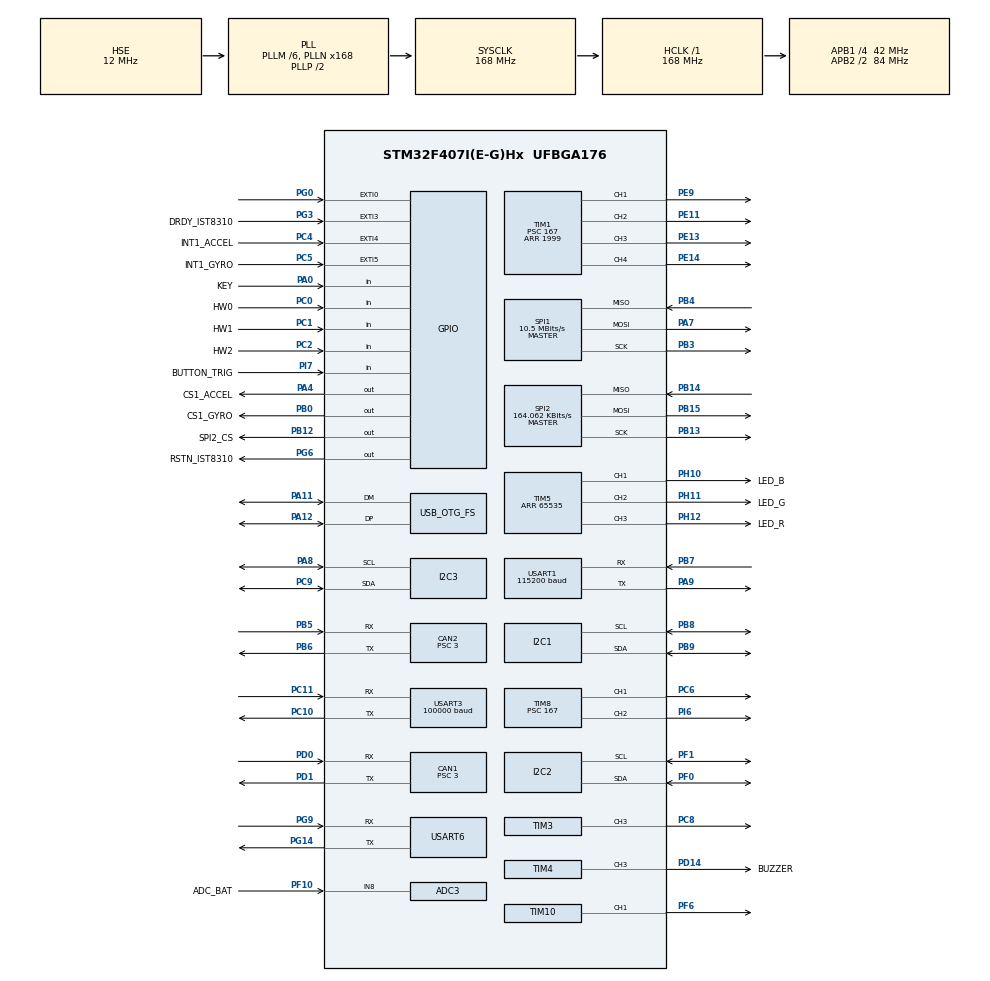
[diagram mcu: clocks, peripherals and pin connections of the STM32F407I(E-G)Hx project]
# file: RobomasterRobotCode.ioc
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ADC1.Channel-0\#ChannelRegularConversion=ADC_CHANNEL_TEMPSENSOR
ADC1.ClockPrescaler=ADC_CLOCK_SYNC_PCLK_DIV6
ADC1.NbrOfConversionFlag=1
ADC1.Rank-0\#ChannelRegularConversion=1
ADC1.SamplingTime-0\#ChannelRegularConversion=ADC_SAMPLETIME_3CYCLES
ADC1.master=1
ADC3.Channel-0\#ChannelRegularConversion=ADC_CHANNEL_8
ADC3.ClockPrescaler=ADC_CLOCK_SYNC_PCLK_DIV6
ADC3.NbrOfConversionFlag=1
ADC3.Rank-0\#ChannelRegularConversion=1
ADC3.SamplingTime-0\#ChannelRegularConversion=ADC_SAMPLETIME_3CYCLES
CAN1.BS1=CAN_BS1_10TQ
CAN1.BS2=CAN_BS2_3TQ
CAN1.CalculateBaudRate=1000000
CAN1.CalculateTimeBit=1000
CAN1.CalculateTimeQuantum=71.42857142857143
CAN1.Prescaler=3
CAN1.SJW=CAN_SJW_4TQ
CAN2.BS1=CAN_BS1_10TQ
CAN2.BS2=CAN_BS2_3TQ
CAN2.CalculateBaudRate=1000000
CAN2.CalculateTimeBit=1000
CAN2.CalculateTimeQuantum=71.42857142857143
CAN2.Prescaler=3
Dma.I2C2_TX.0.Direction=DMA_MEMORY_TO_PERIPH
Dma.I2C2_TX.0.FIFOMode=DMA_FIFOMODE_DISABLE
Dma.I2C2_TX.0.Instance=DMA1_Stream7
Dma.I2C2_TX.0.MemDataAlignment=DMA_MDATAALIGN_BYTE
Dma.I2C2_TX.0.MemInc=DMA_MINC_ENABLE
Dma.I2C2_TX.0.Mode=DMA_NORMAL
Dma.I2C2_TX.0.PeriphDataAlignment=DMA_PDATAALIGN_BYTE
Dma.I2C2_TX.0.PeriphInc=DMA_PINC_DISABLE
Dma.I2C2_TX.0.Priority=DMA_PRIORITY_HIGH
Dma.I2C3_RX.8.Direction=DMA_PERIPH_TO_MEMORY
Dma.I2C3_RX.8.FIFOMode=DMA_FIFOMODE_DISABLE
Dma.I2C3_RX.8.Instance=DMA1_Stream2
Dma.I2C3_RX.8.MemDataAlignment=DMA_MDATAALIGN_BYTE
Dma.I2C3_RX.8.MemInc=DMA_MINC_ENABLE
Dma.I2C3_RX.8.Mode=DMA_NORMAL
Dma.I2C3_RX.8.PeriphDataAlignment=DMA_PDATAALIGN_BYTE
Dma.I2C3_RX.8.PeriphInc=DMA_PINC_DISABLE
Dma.I2C3_RX.8.Priority=DMA_PRIORITY_VERY_HIGH
Dma.Request0=I2C2_TX
Dma.Request1=USART1_TX
Dma.Request2=USART3_RX
Dma.Request3=USART6_RX
Dma.Request4=USART6_TX
Dma.Request5=SPI1_RX
Dma.Request6=SPI1_TX
Dma.Request7=USART1_RX
Dma.Request8=I2C3_RX
Dma.SPI1_RX.5.Direction=DMA_PERIPH_TO_MEMORY
Dma.SPI1_RX.5.FIFOMode=DMA_FIFOMODE_DISABLE
Dma.SPI1_RX.5.Instance=DMA2_Stream2
Dma.SPI1_RX.5.MemDataAlignment=DMA_MDATAALIGN_BYTE
Dma.SPI1_RX.5.MemInc=DMA_MINC_ENABLE
Dma.SPI1_RX.5.Mode=DMA_NORMAL
Dma.SPI1_RX.5.PeriphDataAlignment=DMA_PDATAALIGN_BYTE
Dma.SPI1_RX.5.PeriphInc=DMA_PINC_DISABLE
Dma.SPI1_RX.5.Priority=DMA_PRIORITY_VERY_HIGH
Dma.SPI1_TX.6.Direction=DMA_MEMORY_TO_PERIPH
Dma.SPI1_TX.6.FIFOMode=DMA_FIFOMODE_DISABLE
Dma.SPI1_TX.6.Instance=DMA2_Stream3
Dma.SPI1_TX.6.MemDataAlignment=DMA_MDATAALIGN_BYTE
Dma.SPI1_TX.6.MemInc=DMA_MINC_ENABLE
Dma.SPI1_TX.6.Mode=DMA_NORMAL
Dma.SPI1_TX.6.PeriphDataAlignment=DMA_PDATAALIGN_BYTE
Dma.SPI1_TX.6.PeriphInc=DMA_PINC_DISABLE
Dma.SPI1_TX.6.Priority=DMA_PRIORITY_HIGH
Dma.USART1_RX.7.Direction=DMA_PERIPH_TO_MEMORY
Dma.USART1_RX.7.FIFOMode=DMA_FIFOMODE_DISABLE
Dma.USART1_RX.7.Instance=DMA2_Stream5
Dma.USART1_RX.7.MemDataAlignment=DMA_MDATAALIGN_BYTE
Dma.USART1_RX.7.MemInc=DMA_MINC_ENABLE
Dma.USART1_RX.7.Mode=DMA_NORMAL
Dma.USART1_RX.7.PeriphDataAlignment=DMA_PDATAALIGN_BYTE
Dma.USART1_RX.7.PeriphInc=DMA_PINC_DISABLE
Dma.USART1_RX.7.Priority=DMA_PRIORITY_VERY_HIGH
Dma.USART1_TX.1.Direction=DMA_MEMORY_TO_PERIPH
Dma.USART1_TX.1.FIFOMode=DMA_FIFOMODE_DISABLE
Dma.USART1_TX.1.Instance=DMA2_Stream7
Dma.USART1_TX.1.MemDataAlignment=DMA_MDATAALIGN_BYTE
Dma.USART1_TX.1.MemInc=DMA_MINC_ENABLE
Dma.USART1_TX.1.Mode=DMA_NORMAL
Dma.USART1_TX.1.PeriphDataAlignment=DMA_PDATAALIGN_BYTE
Dma.USART1_TX.1.PeriphInc=DMA_PINC_DISABLE
Dma.USART1_TX.1.Priority=DMA_PRIORITY_HIGH
Dma.USART3_RX.2.Direction=DMA_PERIPH_TO_MEMORY
Dma.USART3_RX.2.FIFOMode=DMA_FIFOMODE_DISABLE
Dma.USART3_RX.2.Instance=DMA1_Stream1
Dma.USART3_RX.2.MemDataAlignment=DMA_MDATAALIGN_BYTE
Dma.USART3_RX.2.MemInc=DMA_MINC_ENABLE
Dma.USART3_RX.2.Mode=DMA_NORMAL
Dma.USART3_RX.2.PeriphDataAlignment=DMA_PDATAALIGN_BYTE
Dma.USART3_RX.2.PeriphInc=DMA_PINC_DISABLE
Dma.USART3_RX.2.Priority=DMA_PRIORITY_HIGH
Dma.USART6_RX.3.Direction=DMA_PERIPH_TO_MEMORY
Dma.USART6_RX.3.FIFOMode=DMA_FIFOMODE_DISABLE
Dma.USART6_RX.3.Instance=DMA2_Stream1
Dma.USART6_RX.3.MemDataAlignment=DMA_MDATAALIGN_BYTE
Dma.USART6_RX.3.MemInc=DMA_MINC_ENABLE
Dma.USART6_RX.3.Mode=DMA_NORMAL
Dma.USART6_RX.3.PeriphDataAlignment=DMA_PDATAALIGN_BYTE
Dma.USART6_RX.3.PeriphInc=DMA_PINC_DISABLE
Dma.USART6_RX.3.Priority=DMA_PRIORITY_HIGH
Dma.USART6_TX.4.Direction=DMA_MEMORY_TO_PERIPH
Dma.USART6_TX.4.FIFOMode=DMA_FIFOMODE_DISABLE
Dma.USART6_TX.4.Instance=DMA2_Stream6
Dma.USART6_TX.4.MemDataAlignment=DMA_MDATAALIGN_BYTE
Dma.USART6_TX.4.MemInc=DMA_MINC_ENABLE
Dma.USART6_TX.4.Mode=DMA_NORMAL
Dma.USART6_TX.4.PeriphDataAlignment=DMA_PDATAALIGN_BYTE
Dma.USART6_TX.4.PeriphInc=DMA_PINC_DISABLE
Dma.USART6_TX.4.Priority=DMA_PRIORITY_VERY_HIGH
FREERTOS.INCLUDE_eTaskGetState=1
FREERTOS.INCLUDE_pcTaskGetTaskName=1
FREERTOS.INCLUDE_uxTaskGetStackHighWaterMark=1
FREERTOS.INCLUDE_uxTaskGetStackHighWaterMark2=0
FREERTOS.INCLUDE_vTaskCleanUpResources=1
FREERTOS.INCLUDE_vTaskDelayUntil=1
FREERTOS.INCLUDE_xEventGroupSetBitFromISR=1
FREERTOS.INCLUDE_xQueueGetMutexHolder=1
FREERTOS.INCLUDE_xSemaphoreGetMutexHolder=1
FREERTOS.INCLUDE_xTaskAbortDelay=1
FREERTOS.INCLUDE_xTaskGetCurrentTaskHandle=1
FREERTOS.INCLUDE_xTaskGetHandle=1
FREERTOS.INCLUDE_xTimerPendFunctionCall=1
FREERTOS.Tasks01=test,0,64,test_task,As weak,NULL,Dynamic,NULL,NULL
FREERTOS.configENABLE_FPU=1
FREERTOS.configMINIMAL_STACK_SIZE=64
FREERTOS.configTOTAL_HEAP_SIZE=51200
FREERTOS.configUSE_NEWLIB_REENTRANT=1
FREERTOS.configUSE_TIMERS=1
I2C1.I2C_Mode=I2C_Fast
I2C2.I2C_Mode=I2C_Fast
I2C3.I2C_Mode=I2C_Fast
Mcu.Family=STM32F4
Mcu.Name=STM32F407I(E-G)Hx
Mcu.Package=UFBGA176
NVIC.CAN1_RX0_IRQn=true\:6\:0\:true\:false\:true\:true\:true\:true\:true
NVIC.CAN2_RX0_IRQn=true\:6\:0\:true\:false\:true\:true\:true\:true\:true
NVIC.DMA1_Stream1_IRQn=true\:5\:0\:true\:false\:false\:true\:false\:true\:true
NVIC.DMA1_Stream2_IRQn=true\:6\:0\:true\:false\:true\:true\:false\:true\:true
NVIC.DMA1_Stream7_IRQn=true\:6\:0\:true\:false\:false\:true\:false\:true\:true
NVIC.DMA2_Stream1_IRQn=true\:5\:0\:true\:false\:true\:true\:false\:true\:true
NVIC.DMA2_Stream2_IRQn=true\:6\:0\:true\:false\:false\:false\:false\:true\:true
NVIC.DMA2_Stream3_IRQn=true\:6\:0\:true\:false\:false\:true\:false\:true\:true
NVIC.DMA2_Stream5_IRQn=true\:5\:0\:true\:false\:true\:true\:false\:true\:true
NVIC.DMA2_Stream6_IRQn=true\:5\:0\:true\:false\:false\:true\:false\:true\:true
NVIC.DMA2_Stream7_IRQn=true\:5\:0\:true\:false\:false\:true\:false\:true\:true
NVIC.EXTI0_IRQn=true\:5\:0\:true\:false\:true\:true\:true\:true\:true
NVIC.EXTI3_IRQn=true\:5\:0\:true\:false\:true\:true\:true\:true\:true
NVIC.EXTI4_IRQn=true\:5\:0\:true\:false\:true\:true\:true\:true\:true
NVIC.EXTI9_5_IRQn=true\:5\:0\:true\:false\:true\:true\:true\:true\:true
NVIC.OTG_FS_IRQn=true\:6\:0\:true\:false\:true\:true\:true\:true\:true
NVIC.PVD_IRQn=true\:0\:0\:true\:false\:true\:false\:true\:true\:true
NVIC.PriorityGroup=NVIC_PRIORITYGROUP_4
NVIC.TIM6_DAC_IRQn=true\:15\:0\:false\:false\:true\:false\:false\:true\:true
NVIC.TIM7_IRQn=true\:6\:0\:true\:false\:true\:true\:true\:true\:true
NVIC.TimeBase=TIM6_DAC_IRQn
NVIC.TimeBaseIP=TIM6
NVIC.USART1_IRQn=true\:5\:0\:true\:false\:false\:true\:true\:true\:true
NVIC.USART3_IRQn=true\:5\:0\:true\:false\:false\:false\:true\:true\:true
NVIC.USART6_IRQn=true\:6\:0\:true\:false\:false\:true\:true\:true\:true
PA0-WKUP.GPIO_Label=KEY
PA0-WKUP.GPIO_PuPd=GPIO_PULLUP
PA0-WKUP.Signal=GPIO_Input
PA11.Mode=Device_Only
PA11.Signal=USB_OTG_FS_DM
PA12.Mode=Device_Only
PA12.Signal=USB_OTG_FS_DP
PA13.Mode=Serial_Wire
PA13.Signal=SYS_JTMS-SWDIO
PA14.Mode=Serial_Wire
PA14.Signal=SYS_JTCK-SWCLK
PA4.GPIO_Label=CS1_ACCEL
PA4.GPIO_PuPd=GPIO_PULLUP
PA4.GPIO_Speed=GPIO_SPEED_FREQ_HIGH
PA4.PinState=GPIO_PIN_SET
PA4.Signal=GPIO_Output
PA7.GPIO_PuPd=GPIO_PULLUP
PA7.Mode=Full_Duplex_Master
PA7.Signal=SPI1_MOSI
PA8.GPIO_Pu=GPIO_PULLUP
PA8.Mode=I2C
PA8.Signal=I2C3_SCL
PA9.Mode=Asynchronous
PA9.Signal=USART1_TX
PB0.GPIO_Label=CS1_GYRO
PB0.GPIO_PuPd=GPIO_PULLUP
PB0.GPIO_Speed=GPIO_SPEED_FREQ_HIGH
PB0.PinState=GPIO_PIN_SET
PB0.Signal=GPIO_Output
PB12.GPIO_Label=SPI2_CS
PB12.GPIO_PuPd=GPIO_PULLUP
PB12.GPIO_Speed=GPIO_SPEED_FREQ_MEDIUM
PB12.PinState=GPIO_PIN_SET
PB12.Signal=GPIO_Output
PB13.GPIO_PuPd=GPIO_PULLUP
PB13.Mode=Full_Duplex_Master
PB13.Signal=SPI2_SCK
PB14.GPIO_PuPd=GPIO_PULLUP
PB14.Mode=Full_Duplex_Master
PB14.Signal=SPI2_MISO
PB15.GPIO_PuPd=GPIO_PULLUP
PB15.Mode=Full_Duplex_Master
PB15.Signal=SPI2_MOSI
PB3.GPIO_PuPd=GPIO_PULLUP
PB3.Mode=Full_Duplex_Master
PB3.Signal=SPI1_SCK
PB4.GPIO_PuPd=GPIO_PULLUP
PB4.Mode=Full_Duplex_Master
PB4.Signal=SPI1_MISO
PB5.Mode=CAN_Activate
PB5.Signal=CAN2_RX
PB6.Mode=CAN_Activate
PB6.Signal=CAN2_TX
PB7.Mode=Asynchronous
PB7.Signal=USART1_RX
PB8.GPIO_Pu=GPIO_PULLUP
PB8.Mode=I2C
PB8.Signal=I2C1_SCL
PB9.GPIO_Pu=GPIO_PULLUP
PB9.Mode=I2C
PB9.Signal=I2C1_SDA
PC0.GPIO_Label=HW0
PC0.Signal=GPIO_Input
PC1.GPIO_Label=HW1
PC1.Signal=GPIO_Input
PC10.Mode=Asynchronous
PC10.Signal=USART3_TX
PC11.Mode=Asynchronous
PC11.Signal=USART3_RX
PC2.GPIO_Label=HW2
PC2.Signal=GPIO_Input
PC4.GPIO_Label=INT1_ACCEL
PC4.GPIO_ModeDefaultEXTI=GPIO_MODE_IT_FALLING
PC4.GPIO_PuPd=GPIO_PULLUP
PC4.Signal=GPXTI4
PC5.GPIO_Label=INT1_GYRO
PC5.GPIO_ModeDefaultEXTI=GPIO_MODE_IT_FALLING
PC5.GPIO_PuPd=GPIO_PULLUP
PC5.Signal=GPXTI5
PC6.GPIO_PuPd=GPIO_PULLUP
PC6.GPIO_Speed=GPIO_SPEED_FREQ_HIGH
PC6.Signal=S_TIM8_CH1
PC8.GPIO_PuPd=GPIO_PULLUP
PC8.GPIO_Speed=GPIO_SPEED_FREQ_HIGH
PC8.Signal=S_TIM3_CH3
PC9.GPIO_Pu=GPIO_PULLUP
PC9.Mode=I2C
PC9.Signal=I2C3_SDA
PD0.Mode=CAN_Activate
PD0.Signal=CAN1_RX
PD1.Mode=CAN_Activate
PD1.Signal=CAN1_TX
PD14.GPIO_Label=BUZZER
PD14.GPIO_PuPd=GPIO_PULLUP
PD14.GPIO_Speed=GPIO_SPEED_FREQ_VERY_HIGH
PD14.Signal=S_TIM4_CH3
PE11.GPIO_PuPd=GPIO_PULLUP
PE11.GPIO_Speed=GPIO_SPEED_FREQ_HIGH
PE11.Signal=S_TIM1_CH2
PE13.GPIO_PuPd=GPIO_PULLUP
PE13.GPIO_Speed=GPIO_SPEED_FREQ_HIGH
PE13.Signal=S_TIM1_CH3
PE14.GPIO_PuPd=GPIO_PULLUP
PE14.GPIO_Speed=GPIO_SPEED_FREQ_HIGH
PE14.Signal=S_TIM1_CH4
PE9.GPIO_PuPd=GPIO_PULLUP
PE9.GPIO_Speed=GPIO_SPEED_FREQ_HIGH
PE9.Signal=S_TIM1_CH1
PF0.GPIO_Pu=GPIO_PULLUP
PF0.Mode=I2C
PF0.Signal=I2C2_SDA
PF1.GPIO_Pu=GPIO_PULLUP
PF1.Mode=I2C
PF1.Signal=I2C2_SCL
PF10.GPIO_Label=ADC_BAT
PF10.Mode=IN8
PF10.Signal=ADC3_IN8
PF6.GPIO_PuPd=GPIO_PULLUP
PF6.GPIO_Speed=GPIO_SPEED_FREQ_HIGH
PF6.Signal=S_TIM10_CH1
PG0.GPIO_ModeDefaultEXTI=GPIO_MODE_IT_FALLING
PG0.GPIO_PuPd=GPIO_PULLUP
PG0.Signal=GPXTI0
PG14.Mode=Asynchronous
PG14.Signal=USART6_TX
PG3.GPIO_Label=DRDY_IST8310
PG3.GPIO_ModeDefaultEXTI=GPIO_MODE_IT_FALLING
PG3.GPIO_PuPd=GPIO_PULLUP
PG3.Signal=GPXTI3
PG6.GPIO_Label=RSTN_IST8310
PG6.GPIO_PuPd=GPIO_PULLUP
PG6.GPIO_Speed=GPIO_SPEED_FREQ_MEDIUM
PG6.PinState=GPIO_PIN_SET
PG6.Signal=GPIO_Output
PG9.Mode=Asynchronous
PG9.Signal=USART6_RX
PH0-OSC_IN.Mode=HSE-External-Oscillator
PH0-OSC_IN.Signal=RCC_OSC_IN
PH1-OSC_OUT.Mode=HSE-External-Oscillator
PH1-OSC_OUT.Signal=RCC_OSC_OUT
PH10.GPIO_Label=LED_B
PH10.GPIO_PuPd=GPIO_PULLUP
PH10.GPIO_Speed=GPIO_SPEED_FREQ_HIGH
PH10.Signal=S_TIM5_CH1
PH11.GPIO_Label=LED_G
PH11.GPIO_PuPd=GPIO_PULLUP
PH11.GPIO_Speed=GPIO_SPEED_FREQ_HIGH
PH11.Signal=S_TIM5_CH2
PH12.GPIO_Label=LED_R
PH12.GPIO_PuPd=GPIO_PULLUP
PH12.GPIO_Speed=GPIO_SPEED_FREQ_HIGH
PH12.Signal=S_TIM5_CH3
PI6.GPIO_PuPd=GPIO_PULLUP
PI6.GPIO_Speed=GPIO_SPEED_FREQ_HIGH
PI6.Signal=S_TIM8_CH2
PI7.GPIO_Label=BUTTON_TRIG
PI7.GPIO_PuPd=GPIO_PULLUP
PI7.Signal=GPIO_Input
ProjectManager.HeapSize=0x10000
ProjectManager.StackSize=0x4000
ProjectManager.TargetToolchain=STM32CubeIDE
RCC.48MHZClocksFreq_Value=48000000
RCC.AHBFreq_Value=168000000
RCC.APB1CLKDivider=RCC_HCLK_DIV4
RCC.APB1Freq_Value=42000000
RCC.APB1TimFreq_Value=84000000
RCC.APB2CLKDivider=RCC_HCLK_DIV2
RCC.APB2Freq_Value=84000000
RCC.APB2TimFreq_Value=168000000
RCC.CortexFreq_Value=168000000
RCC.HCLKFreq_Value=168000000
RCC.HSE_VALUE=12000000
RCC.HSI_VALUE=16000000
RCC.LSE_VALUE=32768
RCC.PLLM=6
RCC.PLLN=168
RCC.PLLQ=7
RCC.RCC_RTC_Clock_SourceVirtual=RCC_RTCCLKSOURCE_HSE_DIV30
RCC.RCC_RTC_Clock_Source_FROM_HSE=RCC_RTCCLKSOURCE_HSE_DIV30
RCC.SYSCLKFreq_VALUE=168000000
RCC.SYSCLKSource=RCC_SYSCLKSOURCE_PLLCLK
RCC.VCOOutputFreq_Value=336000000
RTC.AsynchPrediv=124
RTC.SynchPrediv=3199
SH.S_TIM10_CH1.0=TIM10_CH1,PWM Generation1 CH1
SH.S_TIM1_CH1.0=TIM1_CH1,PWM Generation1 CH1
SH.S_TIM1_CH2.0=TIM1_CH2,PWM Generation2 CH2
SH.S_TIM1_CH3.0=TIM1_CH3,PWM Generation3 CH3
SH.S_TIM1_CH4.0=TIM1_CH4,PWM Generation4 CH4
SH.S_TIM3_CH3.0=TIM3_CH3,PWM Generation3 CH3
SH.S_TIM4_CH3.0=TIM4_CH3,PWM Generation3 CH3
SH.S_TIM5_CH1.0=TIM5_CH1,PWM Generation1 CH1
SH.S_TIM5_CH2.0=TIM5_CH2,PWM Generation2 CH2
SH.S_TIM5_CH3.0=TIM5_CH3,PWM Generation3 CH3
SH.S_TIM8_CH1.0=TIM8_CH1,PWM Generation1 CH1
SH.S_TIM8_CH2.0=TIM8_CH2,PWM Generation2 CH2
SPI1.BaudRatePrescaler=SPI_BAUDRATEPRESCALER_8
SPI1.CLKPhase=SPI_PHASE_2EDGE
SPI1.CLKPolarity=SPI_POLARITY_HIGH
SPI1.CalculateBaudRate=10.5 MBits/s
SPI1.Direction=SPI_DIRECTION_2LINES
SPI1.Mode=SPI_MODE_MASTER
SPI1.VirtualType=VM_MASTER
SPI2.BaudRatePrescaler=SPI_BAUDRATEPRESCALER_256
SPI2.CLKPhase=SPI_PHASE_2EDGE
SPI2.CLKPolarity=SPI_POLARITY_HIGH
SPI2.CalculateBaudRate=164.062 KBits/s
SPI2.Direction=SPI_DIRECTION_2LINES
SPI2.Mode=SPI_MODE_MASTER
SPI2.VirtualType=VM_MASTER
TIM1.Channel-PWM\ Generation1\ CH1=TIM_CHANNEL_1
TIM1.Channel-PWM\ Generation2\ CH2=TIM_CHANNEL_2
TIM1.Channel-PWM\ Generation3\ CH3=TIM_CHANNEL_3
TIM1.Channel-PWM\ Generation4\ CH4=TIM_CHANNEL_4
TIM1.Period=1999
TIM1.Prescaler=167
TIM1.Pulse-PWM\ Generation1\ CH1=0
TIM1.Pulse-PWM\ Generation2\ CH2=0
TIM1.Pulse-PWM\ Generation3\ CH3=0
TIM1.Pulse-PWM\ Generation4\ CH4=0
TIM10.Channel=TIM_CHANNEL_1
TIM10.Period=4999
TIM3.Channel-PWM\ Generation3\ CH3=TIM_CHANNEL_3
TIM3.Period=8399
TIM3.Prescaler=0
TIM4.Channel-PWM\ Generation3\ CH3=TIM_CHANNEL_3
TIM4.Period=9999
TIM4.Prescaler=83
TIM5.Channel-PWM\ Generation1\ CH1=TIM_CHANNEL_1
TIM5.Channel-PWM\ Generation2\ CH2=TIM_CHANNEL_2
TIM5.Channel-PWM\ Generation3\ CH3=TIM_CHANNEL_3
TIM5.Period=65535
TIM7.AutoReloadPreload=TIM_AUTORELOAD_PRELOAD_ENABLE
TIM7.Period=174
TIM7.Prescaler=839
TIM7.TIM_MasterOutputTrigger=TIM_TRGO_RESET
TIM8.Channel-PWM\ Generation1\ CH1=TIM_CHANNEL_1
TIM8.Channel-PWM\ Generation2\ CH2=TIM_CHANNEL_2
TIM8.Period=19999
TIM8.Prescaler=167
TIM8.Pulse-PWM\ Generation1\ CH1=0
TIM8.Pulse-PWM\ Generation2\ CH2=0
USART1.BaudRate=115200
USART1.Parity=PARITY_NONE
USART1.StopBits=STOPBITS_1
USART1.VirtualMode=VM_ASYNC
USART1.WordLength=WORDLENGTH_8B
USART3.BaudRate=100000
USART3.Parity=PARITY_EVEN
USART3.VirtualMode=VM_ASYNC
USART6.VirtualMode=VM_ASYNC
USB_DEVICE.CLASS_NAME_FS=CDC
USB_DEVICE.VirtualMode-CDC_FS=Cdc
USB_DEVICE.VirtualModeFS=Cdc_FS
USB_OTG_FS.VirtualMode=Device_Only
VP_ADC1_TempSens_Input.Mode=IN-TempSens
VP_ADC1_Vref_Input.Mode=IN-Vrefint
VP_CRC_VS_CRC.Mode=CRC_Activate
VP_FREERTOS_VS_CMSIS_V1.Mode=CMSIS_V1
VP_RNG_VS_RNG.Mode=RNG_Activate
VP_RTC_VS_RTC_Activate.Mode=RTC_Enabled
VP_SYS_VS_tim6.Mode=TIM6
VP_TIM10_VS_ClockSourceINT.Mode=Enable_Timer
VP_TIM1_VS_ClockSourceINT.Mode=Internal
VP_TIM3_VS_ClockSourceINT.Mode=Internal
VP_TIM4_VS_ClockSourceINT.Mode=Internal
VP_TIM5_VS_ClockSourceINT.Mode=Internal
VP_TIM7_VS_ClockSourceINT.Mode=Enable_Timer
VP_TIM8_VS_ClockSourceINT.Mode=Internal
VP_USB_DEVICE_VS_USB_DEVICE_CDC_FS.Mode=CDC_FS
board=custom

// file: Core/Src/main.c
/* USER CODE BEGIN Header */
/**
  ******************************************************************************
  * @file           : main.c
  * @brief          : Main program body
  ******************************************************************************
  * @attention
  *
  * <h2><center>&copy; Copyright (c) 2022 STMicroelectronics.
  * All rights reserved.</center></h2>
  *
  * This software component is licensed by ST under BSD 3-Clause license,
  * the "License"; You may not use this file except in compliance with the
  * License. You may obtain a copy of the License at:
  *                        opensource.org/licenses/BSD-3-Clause
  *
  ******************************************************************************
  */
/* USER CODE END Header */
#include "main.h"
#include "cmsis_os.h"
#include "adc.h"
#include "can.h"
#include "crc.h"
#include "dma.h"
#include "i2c.h"
#include "rng.h"
#include "rtc.h"
#include "spi.h"
#include "tim.h"
#include "usart.h"
#include "usb_device.h"
#include "gpio.h"

/* USER CODE BEGIN Includes */
#include "bsp_can.h"
#include "bsp_delay.h"
#include "bsp_usart.h"
#include "remote_control.h"
#include "FreeRTOS.h"
#include "calibrate_task.h"
#include "chassis_task.h"
#include "detect_task.h"
#include "gimbal_task.h"
#include "INS_task.h"
#include "led_flow_task.h"
//#include "referee_usart_task.h"
#include "print_task.h"
#include "voltage_task.h"
#include "referee_task.h"
#include "SEGGER_RTT.h"
#include "DWT.h"
#if __CC_ARM
#if EventRecorder_MODE == Enable_EventRecorder
#include "EventRecorder.h"
#endif
#endif
/* USER CODE END Includes */

void SystemClock_Config(void);
void MX_FREERTOS_Init(void);

/* USER CODE BEGIN 0 */
//uint16_t abDataOut[128];
/* USER CODE END 0 */

int main(void)
{
  /* USER CODE BEGIN 1 */
    taskDISABLE_INTERRUPTS();
  /* USER CODE END 1 */

  /* MCU Configuration--------------------------------------------------------*/

  /* Reset of all peripherals, Initializes the Flash interface and the Systick. */
  HAL_Init();

  /* Configure the system clock */
  SystemClock_Config();

  /* USER CODE BEGIN SysInit */
  HAL_RTC_MspInit(&hrtc);

#if __CC_ARM
#if EventRecorder_MODE == Enable_EventRecorder
    /* EventRecorder Initializes */
	EventRecorderInitialize(EventRecordAll, 1U);
#endif
#endif
  /* USER CODE END SysInit */

  /* Initialize all configured peripherals */
  MX_GPIO_Init();
  MX_DMA_Init();
  MX_ADC1_Init();
  MX_ADC3_Init();
  MX_CAN1_Init();
  MX_CAN2_Init();
  MX_I2C1_Init();
  MX_I2C2_Init();
  MX_RTC_Init();
  MX_TIM1_Init();
  MX_TIM3_Init();
  MX_TIM4_Init();
  MX_TIM5_Init();
  MX_TIM8_Init();
  MX_TIM10_Init();
  MX_I2C3_Init();
  MX_SPI1_Init();
  MX_SPI2_Init();
  MX_USART1_UART_Init();
  MX_USART3_UART_Init();
  MX_USART6_UART_Init();
  MX_CRC_Init();
  MX_RNG_Init();
  MX_TIM7_Init();
  /* USER CODE BEGIN 2 */
  can_filter_init();
  delay_init();
  cali_param_init();
  remote_control_init();
  HAL_TIM_Base_Start_IT(&htim7);
  DWT_init();
//  usart1_tx_dma_init();//abundant
//  HAL_TIM_Base_Start_IT(&htim2);
  /* USER CODE END 2 */

  /* Call init function for freertos objects (in freertos.c) */
  MX_FREERTOS_Init();

  /* Start scheduler */
  osKernelStart();

  /* We should never get here as control is now taken by the scheduler */
  /* Infinite loop */
    while (1) {

    }
}

void SystemClock_Config(void)
{
  RCC_OscInitTypeDef RCC_OscInitStruct = {0};
  RCC_ClkInitTypeDef RCC_ClkInitStruct = {0};

  /** Configure the main internal regulator output voltage
  */
  __HAL_RCC_PWR_CLK_ENABLE();
  __HAL_PWR_VOLTAGESCALING_CONFIG(PWR_REGULATOR_VOLTAGE_SCALE1);

  /** Initializes the RCC Oscillators according to the specified parameters
  * in the RCC_OscInitTypeDef structure.
  */
  RCC_OscInitStruct.OscillatorType = RCC_OSCILLATORTYPE_HSE;
  RCC_OscInitStruct.HSEState = RCC_HSE_ON;
  RCC_OscInitStruct.PLL.PLLState = RCC_PLL_ON;
  RCC_OscInitStruct.PLL.PLLSource = RCC_PLLSOURCE_HSE;
  RCC_OscInitStruct.PLL.PLLM = 6;
  RCC_OscInitStruct.PLL.PLLN = 168;
  RCC_OscInitStruct.PLL.PLLP = RCC_PLLP_DIV2;
  RCC_OscInitStruct.PLL.PLLQ = 7;
  if (HAL_RCC_OscConfig(&RCC_OscInitStruct) != HAL_OK)
  {
    Error_Handler();
  }

  /** Initializes the CPU, AHB and APB buses clocks
  */
  RCC_ClkInitStruct.ClockType = RCC_CLOCKTYPE_HCLK|RCC_CLOCKTYPE_SYSCLK
                              |RCC_CLOCKTYPE_PCLK1|RCC_CLOCKTYPE_PCLK2;
  RCC_ClkInitStruct.SYSCLKSource = RCC_SYSCLKSOURCE_PLLCLK;
  RCC_ClkInitStruct.AHBCLKDivider = RCC_SYSCLK_DIV1;
  RCC_ClkInitStruct.APB1CLKDivider = RCC_HCLK_DIV4;
  RCC_ClkInitStruct.APB2CLKDivider = RCC_HCLK_DIV2;

  if (HAL_RCC_ClockConfig(&RCC_ClkInitStruct, FLASH_LATENCY_5) != HAL_OK)
  {
    Error_Handler();
  }
}

void HAL_TIM_PeriodElapsedCallback(TIM_HandleTypeDef *htim)
{
  if (htim->Instance == TIM6) {
    HAL_IncTick();
  }
  /* USER CODE BEGIN Callback 1 */
  if (htim->Instance == TIM7) {
      RTT_timer_trigger();
  }
  /* USER CODE END Callback 1 */
}

void Error_Handler(void)
{
}

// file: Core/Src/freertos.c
/* USER CODE BEGIN Header */
/**
  ******************************************************************************
  * File Name          : freertos.c
  * Description        : Code for freertos applications
  ******************************************************************************
  * @attention
  *
  * <h2><center>&copy; Copyright (c) 2019 STMicroelectronics.
  * All rights reserved.</center></h2>
  *
  * This software component is licensed by ST under Ultimate Liberty license
  * SLA0044, the "License"; You may not use this file except in compliance with
  * the License. You may obtain a copy of the License at:
  *                             www.st.com/SLA0044
  *
  ******************************************************************************
  */
/* USER CODE END Header */

#include "FreeRTOS.h"
#include "task.h"
#include "main.h"
#include "cmsis_os.h"

/* USER CODE BEGIN Includes */

#include "calibrate_task.h"
#include "chassis_task.h"
#include "detect_task.h"
#include "gimbal_task.h"
#include "INS_task.h"
#include "led_flow_task.h"
#include "referee_task.h"
#include "print_task.h"
#include "voltage_task.h"
#include "servo_task.h"
#include "PC_receive_task.h"
#include "vision_task.h"
#include "matlab_sync_task.h"
#include "global_control_define.h"
#include "super_capacitance_control_task.h"
#include "pid_auto_tune_task.h"
/* USER CODE END Includes */

/* USER CODE BEGIN PTD */

osThreadId calibrate_tast_handle;
osThreadId chassisTaskHandle;
osThreadId detect_handle;
osThreadId gimbalTaskHandle;
osThreadId imuTaskHandle;
osThreadId led_RGB_flow_handle;
osThreadId oled_handle;
osThreadId referee_rx_task_handle;
osThreadId referee_tx_task_handle;
osThreadId print_task_handle;
osThreadId battery_voltage_handle;
osThreadId servo_task_handle;
osThreadId usart6tx_active_task_handle;
osThreadId usart1tx_active_task_handle;
osThreadId vision_rx_task_handle;
osThreadId vision_tx_task_handle;
osThreadId matlabSync_task_handle;
osThreadId superCapacitanceControl_Task_Handle;
osThreadId pidAutoTune_Task_Handle;

/* USER CODE END PTD */

osThreadId testHandle;

void test_task(void const *argument);

extern void MX_USB_DEVICE_Init(void);

void MX_FREERTOS_Init(void); /* (MISRA C 2004 rule 8.1) */

/* GetIdleTaskMemory prototype (linked to static allocation support) */
void vApplicationGetIdleTaskMemory(StaticTask_t **ppxIdleTaskTCBBuffer, StackType_t **ppxIdleTaskStackBuffer,
                                   uint32_t *pulIdleTaskStackSize);

/* GetTimerTaskMemory prototype (linked to static allocation support) */
void vApplicationGetTimerTaskMemory(StaticTask_t **ppxTimerTaskTCBBuffer, StackType_t **ppxTimerTaskStackBuffer,
                                    uint32_t *pulTimerTaskStackSize);

/* USER CODE BEGIN GET_IDLE_TASK_MEMORY */
static StaticTask_t xIdleTaskTCBBuffer;
static StackType_t xIdleStack[configMINIMAL_STACK_SIZE];

void vApplicationGetIdleTaskMemory(StaticTask_t **ppxIdleTaskTCBBuffer, StackType_t **ppxIdleTaskStackBuffer,
                                   uint32_t *pulIdleTaskStackSize) {
    *ppxIdleTaskTCBBuffer = &xIdleTaskTCBBuffer;
    *ppxIdleTaskStackBuffer = &xIdleStack[0];
    *pulIdleTaskStackSize = configMINIMAL_STACK_SIZE;
    /* place for user code */
}
/* USER CODE END GET_IDLE_TASK_MEMORY */

/* USER CODE BEGIN GET_TIMER_TASK_MEMORY */
static StaticTask_t xTimerTaskTCBBuffer;
static StackType_t xTimerStack[configTIMER_TASK_STACK_DEPTH];

void vApplicationGetTimerTaskMemory(StaticTask_t **ppxTimerTaskTCBBuffer, StackType_t **ppxTimerTaskStackBuffer,
                                    uint32_t *pulTimerTaskStackSize) {
    *ppxTimerTaskTCBBuffer = &xTimerTaskTCBBuffer;
    *ppxTimerTaskStackBuffer = &xTimerStack[0];
    *pulTimerTaskStackSize = configTIMER_TASK_STACK_DEPTH;
    /* place for user code */
}
/* USER CODE END GET_TIMER_TASK_MEMORY */

void MX_FREERTOS_Init(void) {

    /* Create the thread(s) */
    /* definition and creation of test */
    osThreadDef(test, test_task, osPriorityNormal, 0, 64);
    testHandle = osThreadCreate(osThread(test), NULL);

    /* USER CODE BEGIN RTOS_THREADS */
    /* add threads, ... */
    osThreadDef(BATTERY_VOLTAGE, battery_voltage_task, osPriorityBelowNormal, 0, 256);
    battery_voltage_handle = osThreadCreate(osThread(BATTERY_VOLTAGE), NULL);

    osThreadDef(cali, calibrate_task, osPriorityNormal, 0, 128);
    calibrate_tast_handle = osThreadCreate(osThread(cali), NULL);

    osThreadDef(DETECT, detect_task, osPriorityNormal, 0, 128);
    detect_handle = osThreadCreate(osThread(DETECT), NULL);

    osThreadDef(SuperCapacitanceControlTask, super_capacitance_control_task, osPriorityHigh, 0, 128);
    superCapacitanceControl_Task_Handle = osThreadCreate(osThread(SuperCapacitanceControlTask), NULL);

    osThreadDef(ChassisTask, chassis_task, osPriorityAboveNormal, 0, 256);
    chassisTaskHandle = osThreadCreate(osThread(ChassisTask), NULL);

    osThreadDef(gimbalTask, gimbal_task, osPriorityHigh, 0, 256);
    gimbalTaskHandle = osThreadCreate(osThread(gimbalTask), NULL);

    osThreadDef(imuTask, INS_task, osPriorityRealtime, 0, 1024);
    imuTaskHandle = osThreadCreate(osThread(imuTask), NULL);
    if (PID_AUTO_TUNE) {
        osThreadDef(PID_Auto_Tune_Task, pid_auto_tune_task, osPriorityRealtime, 0, 1024);
        pidAutoTune_Task_Handle = osThreadCreate(osThread(PID_Auto_Tune_Task), NULL);
    }
    osThreadDef(VISION_RX, vision_rx_task, osPriorityRealtime, 0, 256);
    vision_rx_task_handle = osThreadCreate(osThread(VISION_RX), NULL);

    osThreadDef(SERVO, servo_task, osPriorityAboveNormal, 0, 128);
    servo_task_handle = osThreadCreate(osThread(SERVO), NULL);

    osThreadDef(REFEREE_RX, referee_rx_task, osPriorityRealtime, 0, 512);
    referee_rx_task_handle = osThreadCreate(osThread(REFEREE_RX), NULL);

    osThreadDef(USART6TXAactiveTask, USART6TX_active_task, osPriorityRealtime, 0, 256);
    usart6tx_active_task_handle = osThreadCreate(osThread(USART6TXAactiveTask), NULL);

    osThreadDef(USART1TXAactiveTask, USART1TX_active_task, osPriorityRealtime, 0, 256);
    usart1tx_active_task_handle = osThreadCreate(osThread(USART1TXAactiveTask), NULL);

    osThreadDef(REFEREE_TX, referee_tx_task, osPriorityNormal, 0, 256);
    referee_tx_task_handle = osThreadCreate(osThread(REFEREE_TX), NULL);

    if (UART1_TARGET_MODE == Vision_MODE) {
        osThreadDef(VISION_TX, vision_tx_task, osPriorityNormal, 0, 256);
        vision_tx_task_handle = osThreadCreate(osThread(VISION_TX), NULL);
    } else if (UART1_TARGET_MODE == Matlab_MODE) {
        osThreadDef(MatlabSyncTask, matlab_sync_task, osPriorityRealtime, 0, 256);
        matlabSync_task_handle = osThreadCreate(osThread(MatlabSyncTask), NULL);
    }

    osThreadDef(printTask, print_task, osPriorityNormal, 0, 512);
    print_task_handle = osThreadCreate(osThread(printTask), NULL);

    osThreadDef(PC_receiveTask, PC_receive_task, osPriorityNormal, 0, 512);
    servo_task_handle = osThreadCreate(osThread(PC_receiveTask), NULL);

    osThreadDef(led, led_RGB_flow_task, osPriorityLow, 0, 128);
    led_RGB_flow_handle = osThreadCreate(osThread(led), NULL);

//    osThreadDef(OLED, oled_task, osPriorityLow, 0, 256);
//    oled_handle = osThreadCreate(osThread(OLED), NULL);

    /* USER CODE END RTOS_THREADS */

}

__weak void test_task(void const *argument) {
    /* init code for USB_DEVICE */
    MX_USB_DEVICE_Init();
    for (;;) {
        osDelay(1);
    }
}
